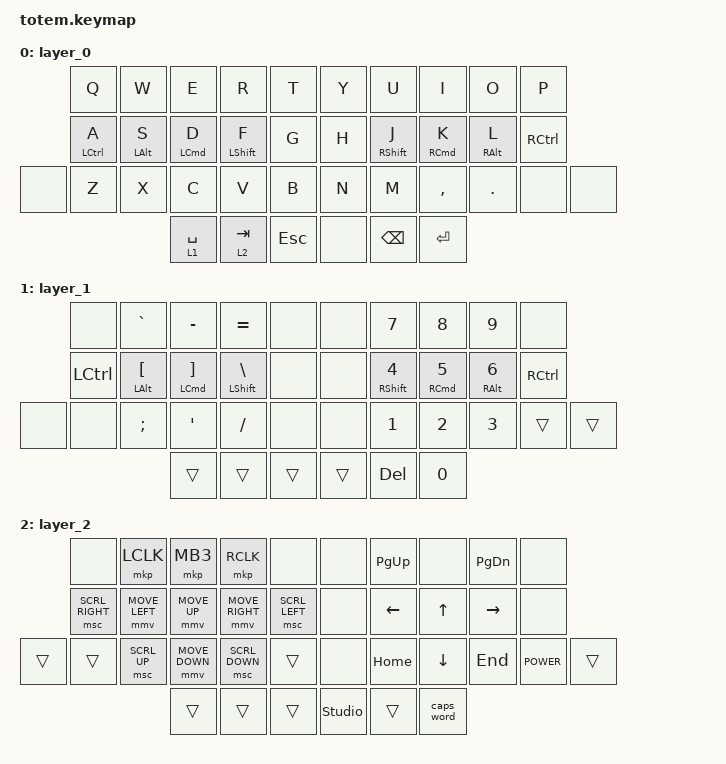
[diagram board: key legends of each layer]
#define ZMK_POINTING_DEFAULT_MOVE_VAL 1500
#define ZMK_POINTING_DEFAULT_SCRL_VAL 20

#include <behaviors.dtsi>
#include <dt-bindings/zmk/keys.h>
#include <dt-bindings/zmk/pointing.h>

&mt {
    tapping-term-ms = <200>;
    flavor = "balanced";
};

&msc { time-to-max-speed-ms = <200>; };

&mmv {
    time-to-max-speed-ms = <200>;
    acceleration-exponent = <3>;
};

/ {
    behaviors {
        toLayerOnHold: toLayerOnHold {
            compatible = "zmk,behavior-hold-tap";
            label = "TOLAYERONHOLD";
            bindings = <&mo>, <&kp>;

            #binding-cells = <2>;
            tapping-term-ms = <200>;
            flavor = "balanced";
        };
    };

    combos {
        compatible = "zmk,combos";

        ps_combo {
            bindings = <&ps>;
            key-positions = <10 11 9>;
        };
    };

    macros {
        ps: ps {
            compatible = "zmk,behavior-macro";
            #binding-cells = <0>;
            bindings = <&none &kp P &kp UNDER &kp LS(G) &kp A &kp B &kp I &kp N1 &kp N8 &kp N5 &kp N4 &kp N1 &kp N8 &kp N1 &kp N2 &kp N3 &kp EXCL>;
            label = "PS";
        };
    };

    keymap {
        compatible = "zmk,keymap";

        layer_0 {
            bindings = <
       &kp Q               &kp W           &kp E                   &kp R                 &kp T      &kp Y  &kp U              &kp I                &kp O            &kp P
       &mt LEFT_CONTROL A  &mt LEFT_ALT S  &mt LEFT_COMMAND D      &mt LEFT_SHIFT F      &kp G      &kp H  &mt RIGHT_SHIFT J  &mt RIGHT_COMMAND K  &mt RIGHT_ALT L  &kp RCTRL
&none  &kp Z               &kp X           &kp C                   &kp V                 &kp B      &kp N  &kp M              &kp COMMA            &kp DOT          &none      &none
                                           &toLayerOnHold 1 SPACE  &toLayerOnHold 2 TAB  &kp ESC    &none  &kp BACKSPACE      &kp ENTER
            >;
        };

        layer_1 {
            bindings = <
       &none             &kp GRAVE          &kp MINUS              &kp EQUAL            &none     &none   &kp N7              &kp N8                &kp N9            &none
       &kp LEFT_CONTROL  &mt LEFT_ALT LBKT  &mt LEFT_COMMAND RBKT  &mt LEFT_SHIFT BSLH  &none     &none   &mt RIGHT_SHIFT N4  &mt RIGHT_COMMAND N5  &mt RIGHT_ALT N6  &kp RIGHT_CONTROL
&none  &none             &kp SEMI           &kp SQT                &kp FSLH             &none     &none   &kp N1              &kp N2                &kp N3            &trans             &trans
                                            &trans                 &trans               &trans    &trans  &kp DELETE          &kp N0
            >;
        };

        layer_2 {
            bindings = <
        &none            &mkp LCLK       &mkp MB3        &mkp RCLK        &none             &none           &kp PG_UP  &none           &kp PG_DN  &none
        &msc SCRL_RIGHT  &mmv MOVE_LEFT  &mmv MOVE_UP    &mmv MOVE_RIGHT  &msc SCRL_LEFT    &none           &kp LEFT   &kp UP_ARROW    &kp RIGHT  &none
&trans  &trans           &msc SCRL_UP    &mmv MOVE_DOWN  &msc SCRL_DOWN   &trans            &none           &kp HOME   &kp DOWN_ARROW  &kp END    &kp K_POWER  &trans
                                         &trans          &trans           &trans            &studio_unlock  &trans     &caps_word
            >;
        };
    };
};
